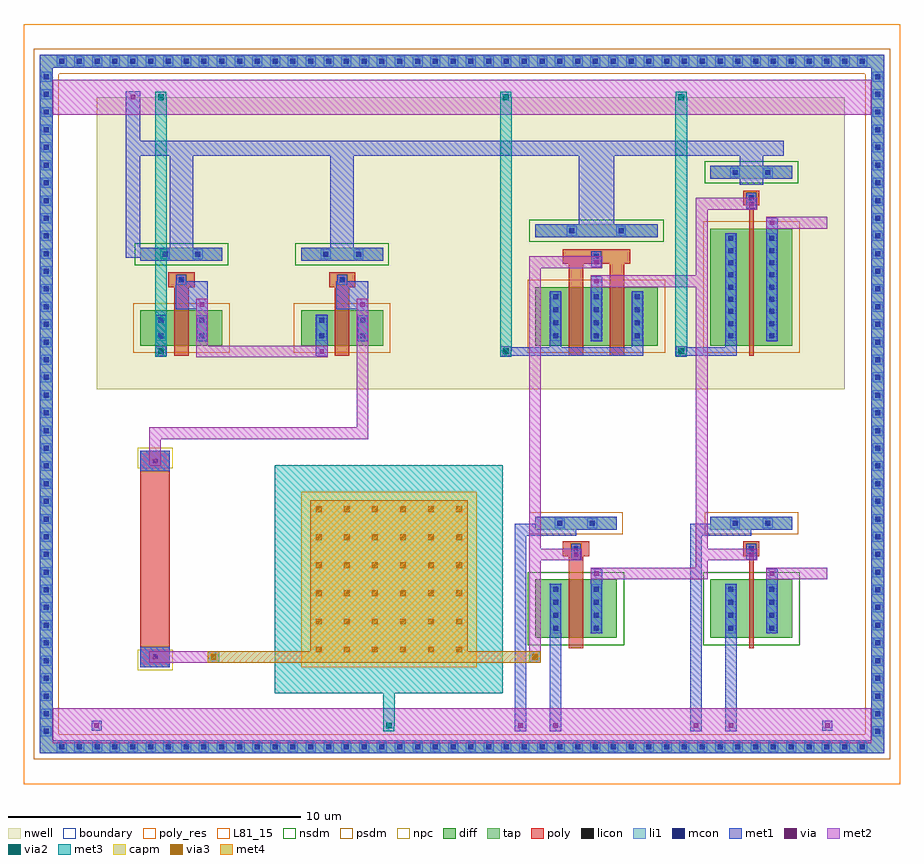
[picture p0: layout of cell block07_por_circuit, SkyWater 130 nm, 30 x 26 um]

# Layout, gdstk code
import gdstk
lib = gdstk.Library(unit=1e-6, precision=1e-09)
def R(c, l, rs):  # rectangles x0, y0, x1, y1
    for r in rs: c.add(gdstk.rectangle(r[:2], r[2:], *l))
def A(c, l, x, y, w, h, nx, ny, dx, dy):  # array of equal rectangles
    R(c, l, [(x+i*dx, y+j*dy, x+i*dx+w, y+j*dy+h) for i in range(nx) for j in range(ny)])
nwell = (64, 20)
diff = (65, 20)
tap = (65, 44)
poly_res = (66, 13)
poly = (66, 20)
licon = (66, 44)
li1 = (67, 20)
mcon = (67, 44)
met1 = (68, 20)
via = (68, 44)
met2 = (69, 20)
via2 = (69, 44)
met3 = (70, 20)
via3 = (70, 44)
met4 = (71, 20)
L81_15 = (81, 15)
capm = (89, 44)
nsdm = (93, 44)
psdm = (94, 20)
npc = (95, 20)
boundary = (235, 4)

block07_por_circuit = lib.new_cell('block07_por_circuit')
R(block07_por_circuit, nwell, [(12.5,23.5,38.1,33.5), (12.8,24.2,18,28.6), (18.3,24.2,23.5,28.6), (26.3,24.2,32.9,29.4), (32.3,24.2,37.5,31.4)])
R(block07_por_circuit, diff, [(27.5,15,30.3,17), (33.5,15,36.3,17), (14,25,16.8,26.2), (19.5,25,22.3,26.2), (27.5,25,31.7,27), (33.5,25,36.3,29)])
R(block07_por_circuit, tap, [(10.55,11.05,39.45,11.5), (10.55,11.5,11,34.5), (39,11.5,39.45,34.5), (27.5,18.7,30.3,19.15), (33.5,18.7,36.3,19.15), (14,27.9,16.8,28.35), (19.5,27.9,22.3,28.35), (27.5,28.7,31.7,29.15), (33.5,30.7,36.3,31.15), (10.55,34.5,39.45,34.95)])
R(block07_por_circuit, poly_res, [(14,14.7,15,20.7)])
R(block07_por_circuit, poly, [(14,14,15,21.4), (28.65,14.65,29.15,18.1), (34.825,14.65,34.975,18.1), (28.45,17.8,29.35,18.3), (34.625,17.8,35.175,18.3), (15.15,24.65,15.65,27.3), (20.65,24.65,21.15,27.3), (28.65,24.65,29.15,28.1), (30.05,24.65,30.55,28.1), (34.825,24.65,34.975,30.1), (14.95,27,15.85,27.5), (20.45,27,21.35,27.5), (28.45,27.8,30.75,28.3), (34.625,29.8,35.175,30.3)])
A(block07_por_circuit, licon, 11.215, 11.19, 0.17, 0.17, 3, 2, 0.61, 23.45)
A(block07_por_circuit, licon, 13.04, 11.19, 0.17, 0.17, 4, 2, 0.61, 23.45)
A(block07_por_circuit, licon, 15.475, 11.19, 0.17, 0.17, 5, 2, 0.61, 23.45)
A(block07_por_circuit, licon, 18.52, 11.19, 0.17, 0.17, 4, 2, 0.61, 23.45)
A(block07_por_circuit, licon, 20.955, 11.19, 0.17, 0.17, 5, 2, 0.61, 23.45)
A(block07_por_circuit, licon, 24, 11.19, 0.17, 0.17, 4, 2, 0.61, 23.45)
A(block07_por_circuit, licon, 26.435, 11.19, 0.17, 0.17, 5, 2, 0.61, 23.45)
A(block07_por_circuit, licon, 29.48, 11.19, 0.17, 0.17, 4, 2, 0.61, 23.45)
A(block07_por_circuit, licon, 31.915, 11.19, 0.17, 0.17, 5, 2, 0.61, 23.45)
A(block07_por_circuit, licon, 34.96, 11.19, 0.17, 0.17, 4, 2, 0.61, 23.45)
A(block07_por_circuit, licon, 37.395, 11.19, 0.17, 0.17, 3, 2, 0.61, 23.45)
A(block07_por_circuit, licon, 10.69, 11.715, 0.17, 0.17, 1, 7, 0, 0.605)
A(block07_por_circuit, licon, 39.14, 11.715, 0.17, 0.17, 1, 7, 0, 0.605)
A(block07_por_circuit, licon, 10.69, 15.955, 0.17, 0.17, 1, 12, 0, 0.605)
A(block07_por_circuit, licon, 39.14, 15.955, 0.17, 0.17, 1, 12, 0, 0.605)
A(block07_por_circuit, licon, 10.69, 23.22, 0.17, 0.17, 1, 12, 0, 0.605)
A(block07_por_circuit, licon, 39.14, 23.22, 0.17, 0.17, 1, 12, 0, 0.605)
A(block07_por_circuit, licon, 28.115, 25.25, 0.17, 0.17, 3, 2, 1.4, 0.445)
A(block07_por_circuit, licon, 34.115, 26.085, 0.17, 0.17, 1, 5, 0, 0.415)
A(block07_por_circuit, licon, 35.515, 26.085, 0.17, 0.17, 1, 5, 0, 0.415)
A(block07_por_circuit, licon, 28.115, 26.135, 0.17, 0.17, 3, 2, 1.4, 0.445)
A(block07_por_circuit, licon, 10.69, 30.485, 0.17, 0.17, 1, 7, 0, 0.605)
A(block07_por_circuit, licon, 39.14, 30.485, 0.17, 0.17, 1, 7, 0, 0.605)
R(block07_por_circuit, licon, [(14.415,14.265,14.585,14.435), (28.115,15.25,28.285,15.42), (29.515,15.25,29.685,15.42), (34.115,15.25,34.285,15.42), (35.515,15.25,35.685,15.42), (28.115,15.695,28.285,15.865), (29.515,15.695,29.685,15.865), (34.115,15.695,34.285,15.865), (35.515,15.695,35.685,15.865), (28.115,16.135,28.285,16.305), (29.515,16.135,29.685,16.305), (34.115,16.135,34.285,16.305), (35.515,16.135,35.685,16.305), (28.115,16.58,28.285,16.75), (29.515,16.58,29.685,16.75), (34.115,16.58,34.285,16.75), (35.515,16.58,35.685,16.75), (28.815,17.965,28.985,18.135), (34.815,17.965,34.985,18.135), (28.255,18.835,28.425,19.005), (29.375,18.835,29.545,19.005), (34.255,18.835,34.425,19.005), (35.375,18.835,35.545,19.005), (14.415,20.965,14.585,21.135), (14.615,25.25,14.785,25.42), (16.015,25.25,16.185,25.42), (20.115,25.25,20.285,25.42), (21.515,25.25,21.685,25.42), (34.115,25.25,34.285,25.42), (35.515,25.25,35.685,25.42), (34.115,25.665,34.285,25.835), (35.515,25.665,35.685,25.835), (14.615,25.78,14.785,25.95), (16.015,25.78,16.185,25.95), (20.115,25.78,20.285,25.95), (21.515,25.78,21.685,25.95), (15.315,27.165,15.485,27.335), (20.815,27.165,20.985,27.335), (29.515,27.965,29.685,28.135), (14.755,28.035,14.925,28.205), (15.875,28.035,16.045,28.205), (20.255,28.035,20.425,28.205), (21.375,28.035,21.545,28.205), (34.115,28.165,34.285,28.335), (35.515,28.165,35.685,28.335), (34.115,28.58,34.285,28.75), (35.515,28.58,35.685,28.75), (28.675,28.835,28.845,29.005), (30.355,28.835,30.525,29.005), (34.815,29.965,34.985,30.135), (34.255,30.835,34.425,31.005), (35.375,30.835,35.545,31.005)])
A(block07_por_circuit, li1, 11.13, 11.105, 0.34, 0.34, 3, 2, 0.61, 23.45)
A(block07_por_circuit, li1, 12.955, 11.105, 0.34, 0.34, 4, 2, 0.61, 23.45)
A(block07_por_circuit, li1, 15.39, 11.105, 0.34, 0.34, 5, 2, 0.61, 23.45)
A(block07_por_circuit, li1, 18.435, 11.105, 0.34, 0.34, 4, 2, 0.61, 23.45)
A(block07_por_circuit, li1, 20.87, 11.105, 0.34, 0.34, 5, 2, 0.61, 23.45)
A(block07_por_circuit, li1, 23.915, 11.105, 0.34, 0.34, 4, 2, 0.61, 23.45)
A(block07_por_circuit, li1, 26.35, 11.105, 0.34, 0.34, 5, 2, 0.61, 23.45)
A(block07_por_circuit, li1, 29.395, 11.105, 0.34, 0.34, 4, 2, 0.61, 23.45)
A(block07_por_circuit, li1, 31.83, 11.105, 0.34, 0.34, 5, 2, 0.61, 23.45)
A(block07_por_circuit, li1, 34.875, 11.105, 0.34, 0.34, 4, 2, 0.61, 23.45)
A(block07_por_circuit, li1, 37.31, 11.105, 0.34, 0.34, 3, 2, 0.61, 23.45)
A(block07_por_circuit, li1, 10.605, 11.63, 0.34, 0.34, 1, 7, 0, 0.605)
A(block07_por_circuit, li1, 39.055, 11.63, 0.34, 0.34, 1, 7, 0, 0.605)
A(block07_por_circuit, li1, 10.605, 15.87, 0.34, 0.34, 1, 12, 0, 0.605)
A(block07_por_circuit, li1, 39.055, 15.87, 0.34, 0.34, 1, 12, 0, 0.605)
A(block07_por_circuit, li1, 10.605, 23.135, 0.34, 0.34, 1, 12, 0, 0.605)
A(block07_por_circuit, li1, 39.055, 23.135, 0.34, 0.34, 1, 12, 0, 0.605)
A(block07_por_circuit, li1, 28.03, 25.165, 0.34, 1.67, 3, 1, 1.4, 0)
A(block07_por_circuit, li1, 10.605, 30.4, 0.34, 0.34, 1, 7, 0, 0.605)
A(block07_por_circuit, li1, 39.055, 30.4, 0.34, 0.34, 1, 7, 0, 0.605)
R(block07_por_circuit, li1, [(14,14,15,14.7), (28.03,15.165,28.37,16.835), (29.43,15.165,29.77,16.835), (34.03,15.165,34.37,16.835), (35.43,15.165,35.77,16.835), (28.73,17.88,29.07,18.22), (34.73,17.88,35.07,18.22), (28.17,18.75,28.51,19.09), (29.29,18.75,29.63,19.09), (34.17,18.75,34.51,19.09), (35.29,18.75,35.63,19.09), (14,20.7,15,21.4), (14.53,25.165,14.87,26.035), (15.93,25.165,16.27,26.035), (20.03,25.165,20.37,26.035), (21.43,25.165,21.77,26.035), (34.03,25.165,34.37,28.835), (35.43,25.165,35.77,28.835), (15.23,27.08,15.57,27.42), (20.73,27.08,21.07,27.42), (29.43,27.88,29.77,28.22), (14.67,27.95,15.01,28.29), (15.79,27.95,16.13,28.29), (20.17,27.95,20.51,28.29), (21.29,27.95,21.63,28.29), (28.59,28.75,28.93,29.09), (30.27,28.75,30.61,29.09), (34.73,29.88,35.07,30.22), (34.17,30.75,34.51,31.09), (35.29,30.75,35.63,31.09)])
A(block07_por_circuit, mcon, 11.215, 11.19, 0.17, 0.17, 3, 2, 0.61, 23.45)
A(block07_por_circuit, mcon, 13.04, 11.19, 0.17, 0.17, 4, 2, 0.61, 23.45)
A(block07_por_circuit, mcon, 15.475, 11.19, 0.17, 0.17, 5, 2, 0.61, 23.45)
A(block07_por_circuit, mcon, 18.52, 11.19, 0.17, 0.17, 4, 2, 0.61, 23.45)
A(block07_por_circuit, mcon, 20.955, 11.19, 0.17, 0.17, 5, 2, 0.61, 23.45)
A(block07_por_circuit, mcon, 24, 11.19, 0.17, 0.17, 4, 2, 0.61, 23.45)
A(block07_por_circuit, mcon, 26.435, 11.19, 0.17, 0.17, 5, 2, 0.61, 23.45)
A(block07_por_circuit, mcon, 29.48, 11.19, 0.17, 0.17, 4, 2, 0.61, 23.45)
A(block07_por_circuit, mcon, 31.915, 11.19, 0.17, 0.17, 5, 2, 0.61, 23.45)
A(block07_por_circuit, mcon, 34.96, 11.19, 0.17, 0.17, 4, 2, 0.61, 23.45)
A(block07_por_circuit, mcon, 37.395, 11.19, 0.17, 0.17, 3, 2, 0.61, 23.45)
A(block07_por_circuit, mcon, 10.69, 11.715, 0.17, 0.17, 1, 7, 0, 0.605)
A(block07_por_circuit, mcon, 39.14, 11.715, 0.17, 0.17, 1, 7, 0, 0.605)
A(block07_por_circuit, mcon, 10.69, 15.955, 0.17, 0.17, 1, 12, 0, 0.605)
A(block07_por_circuit, mcon, 39.14, 15.955, 0.17, 0.17, 1, 12, 0, 0.605)
A(block07_por_circuit, mcon, 10.69, 23.22, 0.17, 0.17, 1, 12, 0, 0.605)
A(block07_por_circuit, mcon, 39.14, 23.22, 0.17, 0.17, 1, 12, 0, 0.605)
A(block07_por_circuit, mcon, 28.115, 25.25, 0.17, 0.17, 3, 2, 1.4, 0.445)
A(block07_por_circuit, mcon, 34.115, 26.085, 0.17, 0.17, 1, 5, 0, 0.415)
A(block07_por_circuit, mcon, 35.515, 26.085, 0.17, 0.17, 1, 5, 0, 0.415)
A(block07_por_circuit, mcon, 28.115, 26.135, 0.17, 0.17, 3, 2, 1.4, 0.445)
A(block07_por_circuit, mcon, 10.69, 30.485, 0.17, 0.17, 1, 7, 0, 0.605)
A(block07_por_circuit, mcon, 39.14, 30.485, 0.17, 0.17, 1, 7, 0, 0.605)
R(block07_por_circuit, mcon, [(14.415,14.265,14.585,14.435), (28.115,15.25,28.285,15.42), (29.515,15.25,29.685,15.42), (34.115,15.25,34.285,15.42), (35.515,15.25,35.685,15.42), (28.115,15.695,28.285,15.865), (29.515,15.695,29.685,15.865), (34.115,15.695,34.285,15.865), (35.515,15.695,35.685,15.865), (28.115,16.135,28.285,16.305), (29.515,16.135,29.685,16.305), (34.115,16.135,34.285,16.305), (35.515,16.135,35.685,16.305), (28.115,16.58,28.285,16.75), (29.515,16.58,29.685,16.75), (34.115,16.58,34.285,16.75), (35.515,16.58,35.685,16.75), (28.815,17.965,28.985,18.135), (34.815,17.965,34.985,18.135), (28.255,18.835,28.425,19.005), (29.375,18.835,29.545,19.005), (34.255,18.835,34.425,19.005), (35.375,18.835,35.545,19.005), (14.415,20.965,14.585,21.135), (14.615,25.25,14.785,25.42), (16.015,25.25,16.185,25.42), (20.115,25.25,20.285,25.42), (21.515,25.25,21.685,25.42), (34.115,25.25,34.285,25.42), (35.515,25.25,35.685,25.42), (34.115,25.665,34.285,25.835), (35.515,25.665,35.685,25.835), (14.615,25.78,14.785,25.95), (16.015,25.78,16.185,25.95), (20.115,25.78,20.285,25.95), (21.515,25.78,21.685,25.95), (15.315,27.165,15.485,27.335), (20.815,27.165,20.985,27.335), (29.515,27.965,29.685,28.135), (14.755,28.035,14.925,28.205), (15.875,28.035,16.045,28.205), (20.255,28.035,20.425,28.205), (21.375,28.035,21.545,28.205), (34.115,28.165,34.285,28.335), (35.515,28.165,35.685,28.335), (34.115,28.58,34.285,28.75), (35.515,28.58,35.685,28.75), (28.675,28.835,28.845,29.005), (30.355,28.835,30.525,29.005), (34.815,29.965,34.985,30.135), (34.255,30.835,34.425,31.005), (35.375,30.835,35.545,31.005)])
A(block07_por_circuit, met1, 11.13, 11.105, 0.34, 0.34, 3, 2, 0.61, 23.45)
A(block07_por_circuit, met1, 12.955, 11.105, 0.34, 0.34, 4, 2, 0.61, 23.45)
A(block07_por_circuit, met1, 15.39, 11.105, 0.34, 0.34, 5, 2, 0.61, 23.45)
A(block07_por_circuit, met1, 18.435, 11.105, 0.34, 0.34, 4, 2, 0.61, 23.45)
A(block07_por_circuit, met1, 20.87, 11.105, 0.34, 0.34, 5, 2, 0.61, 23.45)
A(block07_por_circuit, met1, 23.915, 11.105, 0.34, 0.34, 4, 2, 0.61, 23.45)
A(block07_por_circuit, met1, 26.35, 11.105, 0.34, 0.34, 5, 2, 0.61, 23.45)
A(block07_por_circuit, met1, 29.395, 11.105, 0.34, 0.34, 4, 2, 0.61, 23.45)
A(block07_por_circuit, met1, 31.83, 11.105, 0.34, 0.34, 5, 2, 0.61, 23.45)
A(block07_por_circuit, met1, 34.875, 11.105, 0.34, 0.34, 4, 2, 0.61, 23.45)
A(block07_por_circuit, met1, 37.31, 11.105, 0.34, 0.34, 3, 2, 0.61, 23.45)
A(block07_por_circuit, met1, 10.605, 11.63, 0.34, 0.34, 1, 7, 0, 0.605)
A(block07_por_circuit, met1, 39.055, 11.63, 0.34, 0.34, 1, 7, 0, 0.605)
A(block07_por_circuit, met1, 10.605, 15.87, 0.34, 0.34, 1, 12, 0, 0.605)
A(block07_por_circuit, met1, 39.055, 15.87, 0.34, 0.34, 1, 12, 0, 0.605)
A(block07_por_circuit, met1, 10.605, 23.135, 0.34, 0.34, 1, 12, 0, 0.605)
A(block07_por_circuit, met1, 39.055, 23.135, 0.34, 0.34, 1, 12, 0, 0.605)
A(block07_por_circuit, met1, 28.03, 25.165, 0.34, 1.67, 3, 1, 1.4, 0)
A(block07_por_circuit, met1, 10.605, 30.4, 0.34, 0.34, 1, 7, 0, 0.605)
A(block07_por_circuit, met1, 39.055, 30.4, 0.34, 0.34, 1, 7, 0, 0.605)
R(block07_por_circuit, met1, [(10.55,11.05,39.45,11.5), (10.55,11.5,11,34.5), (39,11.5,39.45,34.5), (26.8,11.8,27.2,18.9), (28,11.8,28.4,14.8), (32.8,11.8,33.2,18.9), (34,11.8,34.4,14.8), (12.33,11.83,12.67,12.17), (26.83,11.83,27.17,12.17), (28.03,11.83,28.37,12.17), (32.83,11.83,33.17,12.17), (34.03,11.83,34.37,12.17), (37.33,11.83,37.67,12.17), (14,14,15,14.7), (14.33,14.18,14.67,14.52), (28,14.65,28.4,14.95), (28,14.65,28.4,16.85), (34,14.65,34.4,14.95), (34,14.65,34.4,16.85), (29.4,15.15,29.8,17.35), (35.4,15.15,35.8,17.35), (28.03,15.165,28.37,16.835), (29.43,15.165,29.77,16.835), (34.03,15.165,34.37,16.835), (35.43,15.165,35.77,16.835), (29.43,17.03,29.77,17.37), (35.43,17.03,35.77,17.37), (29.4,17.05,29.8,17.35), (35.4,17.05,35.8,17.35), (28.73,17.68,29.07,18.02), (34.73,17.68,35.07,18.02), (28.73,17.88,29.07,18.22), (34.73,17.88,35.07,18.22), (27,18.5,28.9,18.9), (33,18.5,34.9,18.9), (27.5,18.7,30.3,19.15), (33.5,18.7,36.3,19.15), (28.17,18.75,28.51,19.09), (29.29,18.75,29.63,19.09), (34.17,18.75,34.51,19.09), (35.29,18.75,35.63,19.09), (14,20.7,15,21.4), (14.33,20.88,14.67,21.22), (14.53,24.63,14.87,24.97), (20.03,24.63,20.37,24.97), (26.33,24.63,26.67,24.97), (32.33,24.63,32.67,24.97), (14.5,24.65,14.9,26.05), (14.5,24.65,14.9,24.95), (20,24.65,20.4,26.05), (20,24.65,20.4,24.95), (26.3,24.65,28.4,24.95), (28,24.65,28.4,26.85), (28,24.65,31.2,24.95), (30.8,24.65,31.2,26.85), (32.3,24.65,34.4,24.95), (34,24.65,34.4,24.95), (34,24.65,34.4,28.85), (15.9,25.15,16.3,26.55), (21.4,25.15,21.8,26.55), (29.4,25.15,29.8,27.35), (35.4,25.15,35.8,29.35), (14.53,25.165,14.87,26.035), (15.93,25.165,16.27,26.035), (20.03,25.165,20.37,26.035), (21.43,25.165,21.77,26.035), (34.03,25.165,34.37,28.835), (35.43,25.165,35.77,28.835), (15.93,26.23,16.27,26.57), (21.43,26.23,21.77,26.57), (15.2,26.25,16.3,27.2), (15.9,26.25,16.3,26.55), (20.7,26.25,21.8,27.2), (21.4,26.25,21.8,26.55), (29.43,27.03,29.77,27.37), (29.4,27.05,29.8,27.35), (15.23,27.08,15.57,27.42), (20.73,27.08,21.07,27.42), (29.43,27.68,29.77,28.02), (29.43,27.88,29.77,28.22), (14,27.9,16.8,28.35), (19.5,27.9,22.3,28.35), (14.67,27.95,15.01,28.29), (15.79,27.95,16.13,28.29), (20.17,27.95,20.51,28.29), (21.29,27.95,21.63,28.29), (13.5,28,14,32), (15,28,15.8,31.5), (20.5,28,21.3,31.5), (27.5,28.7,31.7,29.15), (28.59,28.75,28.93,29.09), (30.27,28.75,30.61,29.09), (29,28.8,30.2,31.5), (35.43,29.03,35.77,29.37), (35.4,29.05,35.8,29.35), (34.73,29.68,35.07,30.02), (34.73,29.88,35.07,30.22), (34.5,30.5,35.3,31.5), (33.5,30.7,36.3,31.15), (34.17,30.75,34.51,31.09), (35.29,30.75,35.63,31.09), (13.5,31.5,36,32), (13.5,31.5,14,33.7), (13.58,33.33,13.92,33.67), (10.55,34.5,39.45,34.95)])
R(block07_por_circuit, via, [(12.425,11.925,12.575,12.075), (26.925,11.925,27.075,12.075), (28.125,11.925,28.275,12.075), (32.925,11.925,33.075,12.075), (34.125,11.925,34.275,12.075), (37.425,11.925,37.575,12.075), (14.425,14.275,14.575,14.425), (29.525,17.125,29.675,17.275), (35.525,17.125,35.675,17.275), (28.825,17.775,28.975,17.925), (34.825,17.775,34.975,17.925), (14.425,20.975,14.575,21.125), (14.625,24.725,14.775,24.875), (20.125,24.725,20.275,24.875), (26.425,24.725,26.575,24.875), (32.425,24.725,32.575,24.875), (16.025,26.325,16.175,26.475), (21.525,26.325,21.675,26.475), (29.525,27.125,29.675,27.275), (29.525,27.775,29.675,27.925), (35.525,29.125,35.675,29.275), (34.825,29.775,34.975,29.925), (13.675,33.425,13.825,33.575)])
R(block07_por_circuit, met2, [(11,11.4,39,12.6), (12.33,11.83,12.67,12.17), (26.83,11.83,27.17,12.17), (28.03,11.83,28.37,12.17), (32.83,11.83,33.17,12.17), (34.03,11.83,34.37,12.17), (37.33,11.83,37.67,12.17), (22.31,11.855,22.69,12.145), (14.3,14.15,16.7,14.55), (27.3,14.15,27.7,18.05), (14.33,14.18,14.67,14.52), (16.31,14.205,16.69,14.495), (27.31,14.205,27.69,14.495), (29.4,17,33.4,17.4), (33,17,33.4,30), (35.4,17,37.5,17.4), (29.43,17.03,29.77,17.37), (35.43,17.03,35.77,17.37), (27.3,17.65,29.1,18.05), (27.3,17.65,27.7,28.05), (33,17.65,35.1,18.05), (28.73,17.68,29.07,18.02), (34.73,17.68,35.07,18.02), (14.33,20.88,14.67,21.22), (14.3,20.9,14.7,22.2), (14.3,21.8,21.8,22.2), (21.4,22,21.8,26.6), (15.9,24.6,20.4,25), (15.9,24.6,16.3,26.6), (14.53,24.63,14.87,24.97), (20.03,24.63,20.37,24.97), (26.33,24.63,26.67,24.97), (32.33,24.63,32.67,24.97), (14.51,24.655,14.89,24.945), (26.31,24.655,26.69,24.945), (32.31,24.655,32.69,24.945), (15.93,26.23,16.27,26.57), (21.43,26.23,21.77,26.57), (29.4,27,33.4,27.4), (29.43,27.03,29.77,27.37), (27.3,27.65,29.8,28.05), (29.43,27.68,29.77,28.02), (35.4,29,37.5,29.4), (35.43,29.03,35.77,29.37), (33,29.65,35.1,30.05), (34.73,29.68,35.07,30.02), (11,32.9,39,34.1), (13.58,33.33,13.92,33.67), (14.51,33.355,14.89,33.645), (26.31,33.355,26.69,33.645), (32.31,33.355,32.69,33.645)])
R(block07_por_circuit, via2, [(22.4,11.9,22.6,12.1), (16.4,14.25,16.6,14.45), (27.4,14.25,27.6,14.45), (14.6,24.7,14.8,24.9), (26.4,24.7,26.6,24.9), (32.4,24.7,32.6,24.9), (14.6,33.4,14.8,33.6), (26.4,33.4,26.6,33.6), (32.4,33.4,32.6,33.6)])
R(block07_por_circuit, met3, [(22.31,11.81,22.69,12.19), (22.3,12,22.7,13.5), (18.6,13.1,26.4,20.9), (16.3,14.15,16.7,14.55), (27.3,14.15,27.7,14.55), (16.31,14.16,16.69,14.54), (27.31,14.16,27.69,14.54), (14.51,24.61,14.89,24.99), (26.31,24.61,26.69,24.99), (32.31,24.61,32.69,24.99), (14.5,24.8,14.9,33.5), (26.3,24.8,26.7,33.5), (32.3,24.8,32.7,33.5), (14.51,33.31,14.89,33.69), (26.31,33.31,26.69,33.69), (32.31,33.31,32.69,33.69)])
A(block07_por_circuit, via3, 20, 14.5, 0.2, 0.2, 6, 6, 0.96, 0.96)
R(block07_por_circuit, via3, [(16.4,14.25,16.6,14.45), (27.4,14.25,27.6,14.45)])
R(block07_por_circuit, met4, [(16.3,14.15,16.7,14.55), (16.3,14.15,27.7,14.55), (22.3,14.15,22.7,17), (27.3,14.15,27.7,14.55), (19.8,14.3,25.2,19.7)])
R(block07_por_circuit, L81_15, [(10,10,40,36)])
R(block07_por_circuit, capm, [(19.5,14,25.5,20)])
R(block07_por_circuit, nsdm, [(27.25,14.75,30.55,17.25), (33.25,14.75,36.55,17.25), (13.8,27.75,17,28.5), (19.3,27.75,22.5,28.5), (27.3,28.55,31.9,29.3), (33.3,30.55,36.5,31.3)])
R(block07_por_circuit, psdm, [(10.35,10.85,39.65,11.7), (10.35,11.3,11.2,34.7), (38.8,11.3,39.65,34.7), (27.3,18.55,30.5,19.3), (33.3,18.55,36.5,19.3), (13.75,24.75,17.05,26.45), (19.25,24.75,22.55,26.45), (27.25,24.75,31.95,27.25), (33.25,24.75,36.55,29.25), (10.35,34.3,39.65,35.15)])
R(block07_por_circuit, npc, [(13.9,13.9,15.1,14.6), (28.71,17.86,29.09,18.24), (34.71,17.86,35.09,18.24), (13.9,20.8,15.1,21.5), (15.21,27.06,15.59,27.44), (20.71,27.06,21.09,27.44), (29.41,27.86,29.79,28.24), (34.71,29.86,35.09,30.24)])
R(block07_por_circuit, boundary, [(10,10,40,36)])

lib.write_gds('block07_por_circuit.gds')
